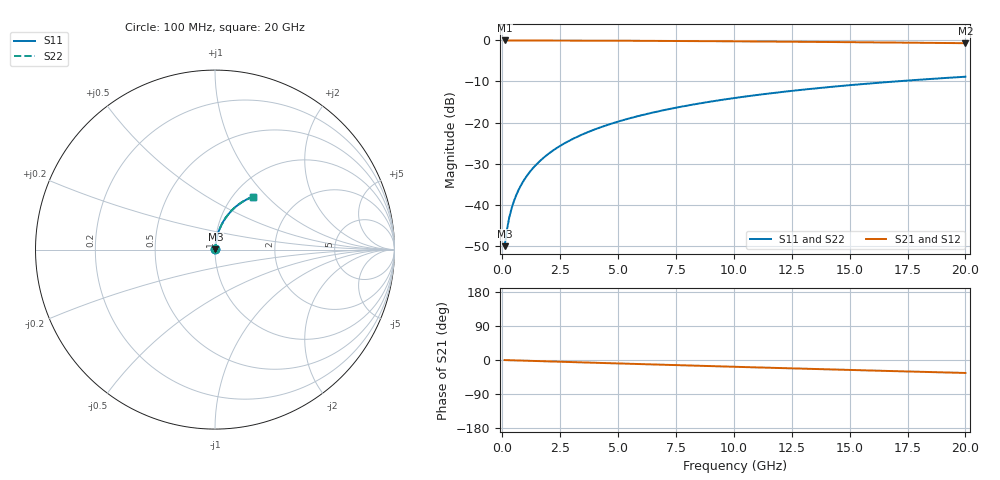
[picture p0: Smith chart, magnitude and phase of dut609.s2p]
! Touchstone file exported from HFSS 2026.1.0
!  File:  C:/ffzhzh/LocalFiles/Ansys_Project_Files/temp_train_BSMRDL_609_1783016187_53980.aedt
!  Generated:  02:17:54 AM Jul  3, 2026
!  Design:  BSMRDL
!  Project:  temp_train_BSMRDL_609_1783016187_53980
! Variables:
!  h_bsmrdl = 3.52um
!  h_ox = 20um
!  h_rdl = 5um
!  h_sub = 80um
!  h_tmrdl = 5um
!  h_tsv = 80um
!  h_via = 3um
!  l_bsmrdl = 442.49um
!  l_sub = 842.49um
!  l_tmrdl = 200um
!  m_sub = 200um
!  pitch = 58.08um
!  r_tsv = 6um
!  s_tmrdl = 10um
!  w_bsmrdl = 22.34um
!  w_sub = 500um
!  w_tmrdl = 12um
!  x_tsv_center1 = 206um
!  x_tsv_center2 = 670.83um
!  x_tsv_center3 = 882.83um
!  x_tsv_center4 = 1347.66um
!  x_tsv_center5 = 1559.66um
!  x_tsv_center6 = 2024.49um
# GHz S MA R 50.000000
! Terminal data exported
! Port[1] = BSM_RDL1_1_T1
! Port[2] = BSM_RDL1_1_T2
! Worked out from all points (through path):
!   200 points, 100 MHz to 20 GHz, reference 50 ohm
!   highest |S21| = -0.02 dB at 100 MHz (marker M1); lowest = -0.7 dB at 20 GHz (marker M2)
!   group delay of S21, straight-line fit = 4.76 ps
!   lowest |S11| = -50.1 dB at 100 MHz (marker M3), VSWR 1.01, Z = 50.2 + j0.223 ohm
!   |S11| at or under -10 dB: start of sweep to 16.97 GHz
!   |S22| runs from -50.1 to -8.8 dB; largest |S21 - S12| = 3.3e-15
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0.1  0.003132 45.3  0.9978 -0.2  0.9978 -0.2  0.003132 45.3
! Gamma 0 0 0 0
! Port Impedance 50 0 50 0
0.2  0.004974 62.2  0.9977 -0.4  0.9977 -0.4  0.004974 62.2
0.3  0.006969 69.4  0.9976 -0.6  0.9976 -0.6  0.006969 69.4
0.4  0.008987 73.2  0.9975 -0.8  0.9975 -0.8  0.008986 73.2
0.5  0.01101 75.7  0.9974 -0.9  0.9974 -0.9  0.01101 75.7
0.7  0.01507 78.6  0.9972 -1.3  0.9972 -1.3  0.01507 78.6
0.8  0.01711 79.5  0.9972 -1.5  0.9972 -1.5  0.01711 79.5
1  0.02121 80.7  0.997 -1.8  0.997 -1.8  0.02121 80.7
1.2  0.02532 81.5  0.9969 -2.2  0.9969 -2.2  0.02532 81.5
1.4  0.02943 81.9  0.9967 -2.6  0.9967 -2.6  0.02943 81.9
1.7  0.03561 82.2  0.9965 -3.1  0.9965 -3.1  0.03561 82.2
2  0.04179 82.2  0.9962 -3.7  0.9962 -3.7  0.04179 82.2
2.7  0.05618 81.8  0.9952 -4.9  0.9952 -4.9  0.05617 81.8
3.5  0.07251 80.9  0.9939 -6.4  0.9939 -6.4  0.07251 80.9
4.2  0.08669 79.9  0.9925 -7.7  0.9925 -7.7  0.08669 79.9
5  0.1027 78.6  0.9906 -9.1  0.9906 -9.1  0.1027 78.6
6.8  0.1381 75.7  0.9856 -12.3  0.9856 -12.3  0.1381 75.7
8.3  0.1669 73.2  0.9806 -14.9  0.9806 -14.9  0.1668 73.2
10.1  0.2003 70.2  0.9737 -18.0  0.9737 -18.0  0.2003 70.2
13.4  0.2584 64.8  0.959 -23.6  0.959 -23.6  0.2584 64.8
16.7  0.3121 59.6  0.9424 -29.0  0.9424 -29.0  0.3121 59.6
20  0.3611 54.5  0.9244 -34.2  0.9244 -34.2  0.3611 54.5
